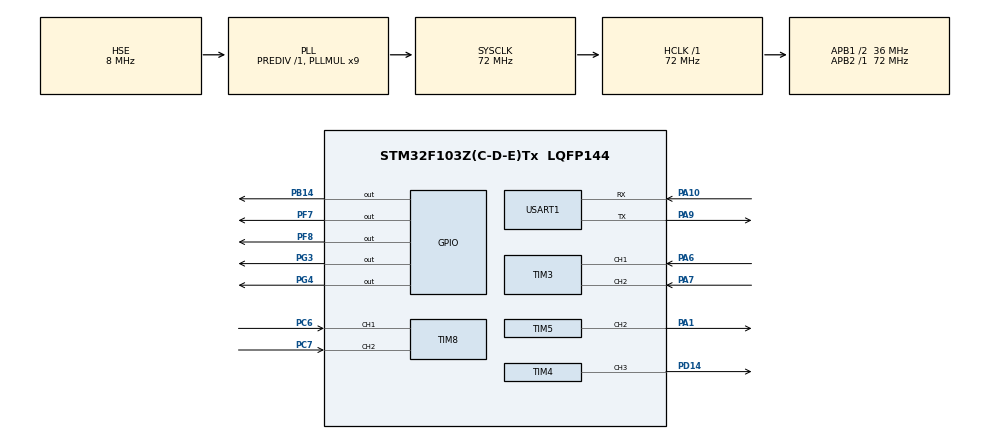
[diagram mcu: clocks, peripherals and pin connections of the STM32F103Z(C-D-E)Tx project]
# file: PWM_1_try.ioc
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Mcu.Family=STM32F1
Mcu.Name=STM32F103Z(C-D-E)Tx
Mcu.Package=LQFP144
NVIC.PriorityGroup=NVIC_PRIORITYGROUP_2
NVIC.TIM3_IRQn=true\:0\:0\:true\:false\:true\:true\:true\:true
NVIC.TIM7_IRQn=true\:2\:1\:true\:false\:true\:true\:true\:true
NVIC.TIM8_CC_IRQn=true\:0\:0\:false\:false\:true\:true\:true\:true
NVIC.USART1_IRQn=true\:0\:0\:true\:false\:true\:true\:true\:true
OSC_IN.Mode=HSE-External-Oscillator
OSC_IN.Signal=RCC_OSC_IN
OSC_OUT.Mode=HSE-External-Oscillator
OSC_OUT.Signal=RCC_OSC_OUT
PA1.Signal=S_TIM5_CH2
PA10.Mode=Asynchronous
PA10.Signal=USART1_RX
PA13.Mode=Serial_Wire
PA13.Signal=SYS_JTMS-SWDIO
PA14.Mode=Serial_Wire
PA14.Signal=SYS_JTCK-SWCLK
PA6.GPIO_PuPd=GPIO_PULLDOWN
PA6.Signal=S_TIM3_CH1
PA7.GPIO_PuPd=GPIO_PULLDOWN
PA7.Signal=S_TIM3_CH2
PA9.Mode=Asynchronous
PA9.Signal=USART1_TX
PB14.PinState=GPIO_PIN_SET
PB14.Signal=GPIO_Output
PC6.GPIO_PuPd=GPIO_PULLDOWN
PC6.Signal=S_TIM8_CH1
PC7.GPIO_PuPd=GPIO_PULLDOWN
PC7.Signal=S_TIM8_CH2
PD12.Signal=S_TIM4_CH1
PD14.Signal=S_TIM4_CH3
PF7.GPIO_PuPd=GPIO_NOPULL
PF7.GPIO_Speed=GPIO_SPEED_FREQ_LOW
PF7.PinState=GPIO_PIN_SET
PF7.Signal=GPIO_Output
PF8.GPIO_PuPd=GPIO_NOPULL
PF8.PinState=GPIO_PIN_SET
PF8.Signal=GPIO_Output
PG3.GPIO_PuPd=GPIO_NOPULL
PG3.Signal=GPIO_Output
PG4.Signal=GPIO_Output
ProjectManager.HeapSize=0x200
ProjectManager.StackSize=0x400
ProjectManager.TargetToolchain=MDK-ARM V5.32
RCC.ADCPresc=RCC_ADCPCLK2_DIV6
RCC.AHBFreq_Value=72000000
RCC.APB1CLKDivider=RCC_HCLK_DIV2
RCC.APB1Freq_Value=36000000
RCC.APB1TimFreq_Value=72000000
RCC.APB2Freq_Value=72000000
RCC.APB2TimFreq_Value=72000000
RCC.HCLKFreq_Value=72000000
RCC.PLLMUL=RCC_PLL_MUL9
RCC.PLLSourceVirtual=RCC_PLLSOURCE_HSE
RCC.SYSCLKFreq_VALUE=72000000
RCC.SYSCLKSource=RCC_SYSCLKSOURCE_PLLCLK
RCC.USBFreq_Value=72000000
SH.S_TIM3_CH1.0=TIM3_CH1,Encoder_Interface
SH.S_TIM3_CH2.0=TIM3_CH2,Encoder_Interface
SH.S_TIM4_CH1.0=TIM4_CH1
SH.S_TIM4_CH3.0=TIM4_CH3,PWM Generation3 CH3
SH.S_TIM5_CH2.0=TIM5_CH2,PWM Generation2 CH2
SH.S_TIM8_CH1.0=TIM8_CH1,Encoder_Interface
SH.S_TIM8_CH2.0=TIM8_CH2,Encoder_Interface
TIM3.EncoderMode=TIM_ENCODERMODE_TI12
TIM3.IC1Filter=1
TIM3.IC2Filter=1
TIM4.Channel-PWM\ Generation3\ CH3=TIM_CHANNEL_3
TIM4.Period=1000-1
TIM4.Prescaler=72-1
TIM4.Pulse-PWM\ Generation3\ CH3=500
TIM5.Channel-PWM\ Generation2\ CH2=TIM_CHANNEL_2
TIM5.Period=1000-1
TIM5.Prescaler=72-1
TIM5.Pulse-PWM\ Generation2\ CH2=500
TIM7.Period=100-1
TIM7.Prescaler=7200-1
TIM8.EncoderMode=TIM_ENCODERMODE_TI12
TIM8.IC1Filter=1
TIM8.IC2Filter=1
USART1.VirtualMode=VM_ASYNC
VP_TIM7_VS_ClockSourceINT.Mode=Enable_Timer
board=custom

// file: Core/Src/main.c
/* USER CODE BEGIN Header */
/**
  ******************************************************************************
  * @file           : main.c
  * @brief          : Main program body
  ******************************************************************************
  * @attention
  *
  * Copyright (c) 2023 STMicroelectronics.
  * All rights reserved.
  *
  * This software is licensed under terms that can be found in the LICENSE file
  * in the root directory of this software component.
  * If no LICENSE file comes with this software, it is provided AS-IS.
  *
  ******************************************************************************
  */
/* USER CODE END Header */
#include "main.h"
#include "tim.h"
#include "usart.h"
#include "gpio.h"

/* USER CODE BEGIN Includes */
#include "bsp_pid.h"
#include "protocol.h"
#include "control.h"
#include "bsp_led.h"
#include "usart.h"
#include "encoder.h"
/* USER CODE END Includes */

void SystemClock_Config(void);

/* USER CODE BEGIN 0 */
	uint8_t uart4_rxbuff;
	uint8_t uart2_rxbuff;
	uint8_t uart3_rxbuff;
/* USER CODE END 0 */

int main(void)
{
  /* USER CODE BEGIN 1 */
	uint8_t usart1_rxbuff;
  /* USER CODE END 1 */

  /* MCU Configuration--------------------------------------------------------*/

  /* Reset of all peripherals, Initializes the Flash interface and the Systick. */
  HAL_Init();

  /* Configure the system clock */
  SystemClock_Config();

  /* Initialize all configured peripherals */
  MX_GPIO_Init();
  MX_TIM7_Init();
  MX_USART1_UART_Init();
  MX_TIM3_Init();
  MX_TIM4_Init();
  MX_TIM8_Init();
  MX_TIM5_Init();
  /* USER CODE BEGIN 2 */
	HAL_TIM_Encoder_Start(&htim8,TIM_CHANNEL_1);
	HAL_TIM_Encoder_Start(&htim8,TIM_CHANNEL_2);

	HAL_TIM_Encoder_Start(&htim3,TIM_CHANNEL_1);
	HAL_TIM_Encoder_Start(&htim3,TIM_CHANNEL_2);

	HAL_TIM_Base_Start_IT(&htim7);

	LED_Init();
	PID_param_init();

	__HAL_UART_ENABLE_IT(&huart1,UART_IT_RXNE);    //串口1接收中断 调试PID

	protocol_init();			//调试PID

	set_motor_enable();
	set_motor2_enable();
  /* USER CODE END 2 */

  /* Infinite loop */
  while (1)
  {
    /* USER CODE BEGIN 3 */
		//receiving_process();

		//if(g_lMotor2PulseSigma == 0) led_toggle(1);

  }
  /* USER CODE END 3 */
}

void SystemClock_Config(void)
{
  RCC_OscInitTypeDef RCC_OscInitStruct = {0};
  RCC_ClkInitTypeDef RCC_ClkInitStruct = {0};

  /** Initializes the RCC Oscillators according to the specified parameters
  * in the RCC_OscInitTypeDef structure.
  */
  RCC_OscInitStruct.OscillatorType = RCC_OSCILLATORTYPE_HSE;
  RCC_OscInitStruct.HSEState = RCC_HSE_ON;
  RCC_OscInitStruct.HSEPredivValue = RCC_HSE_PREDIV_DIV1;
  RCC_OscInitStruct.HSIState = RCC_HSI_ON;
  RCC_OscInitStruct.PLL.PLLState = RCC_PLL_ON;
  RCC_OscInitStruct.PLL.PLLSource = RCC_PLLSOURCE_HSE;
  RCC_OscInitStruct.PLL.PLLMUL = RCC_PLL_MUL9;
  if (HAL_RCC_OscConfig(&RCC_OscInitStruct) != HAL_OK)
  {
    Error_Handler();
  }

  /** Initializes the CPU, AHB and APB buses clocks
  */
  RCC_ClkInitStruct.ClockType = RCC_CLOCKTYPE_HCLK|RCC_CLOCKTYPE_SYSCLK
                              |RCC_CLOCKTYPE_PCLK1|RCC_CLOCKTYPE_PCLK2;
  RCC_ClkInitStruct.SYSCLKSource = RCC_SYSCLKSOURCE_PLLCLK;
  RCC_ClkInitStruct.AHBCLKDivider = RCC_SYSCLK_DIV1;
  RCC_ClkInitStruct.APB1CLKDivider = RCC_HCLK_DIV2;
  RCC_ClkInitStruct.APB2CLKDivider = RCC_HCLK_DIV1;

  if (HAL_RCC_ClockConfig(&RCC_ClkInitStruct, FLASH_LATENCY_2) != HAL_OK)
  {
    Error_Handler();
  }
}

/* USER CODE BEGIN 4 */
void HAL_UART_RxCpltCallback(UART_HandleTypeDef *huart)
{

}
/* USER CODE END 4 */

void Error_Handler(void)
{
  __disable_irq();
  while (1)
  {
  }
}
